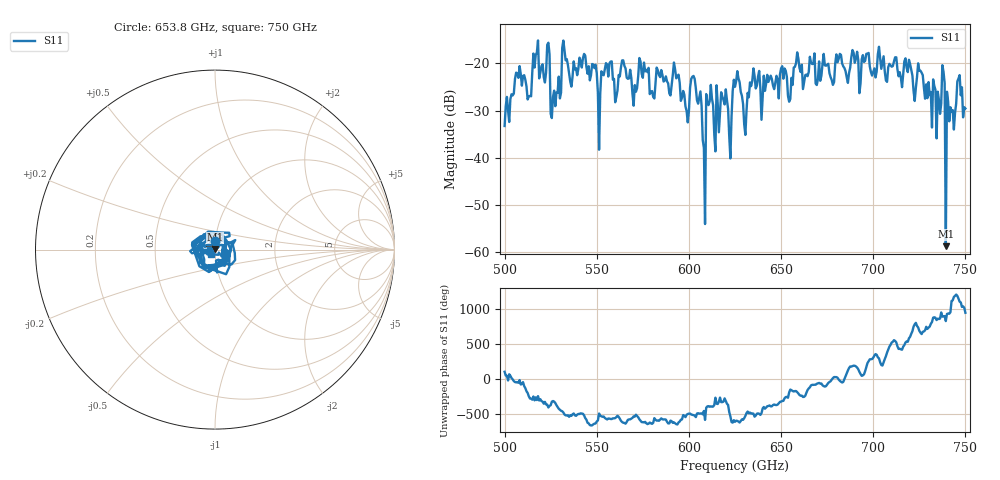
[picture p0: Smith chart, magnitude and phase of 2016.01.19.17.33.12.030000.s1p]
!Created with skrf (http://scikit-rf.org).
# GHz S RI R 50.0
!freq ReS11 ImS11
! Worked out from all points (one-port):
!   401 points, 500 GHz to 750 GHz, reference 50 ohm
!   lowest |S11| = -58.7 dB at 739.4 GHz (marker M1), VSWR 1.00, Z = 50 + j0.108 ohm
!   |S11| at or under -10 dB: start of sweep to end of sweep
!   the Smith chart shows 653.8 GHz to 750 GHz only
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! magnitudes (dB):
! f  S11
! 500 GHz  -33.3
! 507.5 GHz  -23.0
! 513.1 GHz  -27.0
! 516.9 GHz  -18.2
! 523.1 GHz  -16.0
! 526.2 GHz  -27.1
! 531.2 GHz  -16.7
! 548.8 GHz  -21.0
! 551.2 GHz  -38.3
! 554.4 GHz  -21.2
! 562.5 GHz  -22.8
! 593.8 GHz  -22.7
! 598.8 GHz  -30.1
! 602.5 GHz  -22.6
! 608.1 GHz  -37.9
! 610.6 GHz  -28.8
! 621.9 GHz  -35.5
! 625 GHz  -24.9
! 630 GHz  -32.9
! 634.4 GHz  -23.7
! 656.2 GHz  -24.6
! 687.5 GHz  -20.9
! 718.8 GHz  -21.8
! 735.6 GHz  -27.7
! 737.5 GHz  -20.4
! 739.4 GHz  -58.7
! 746.9 GHz  -22.5
! 750 GHz  -29.5
